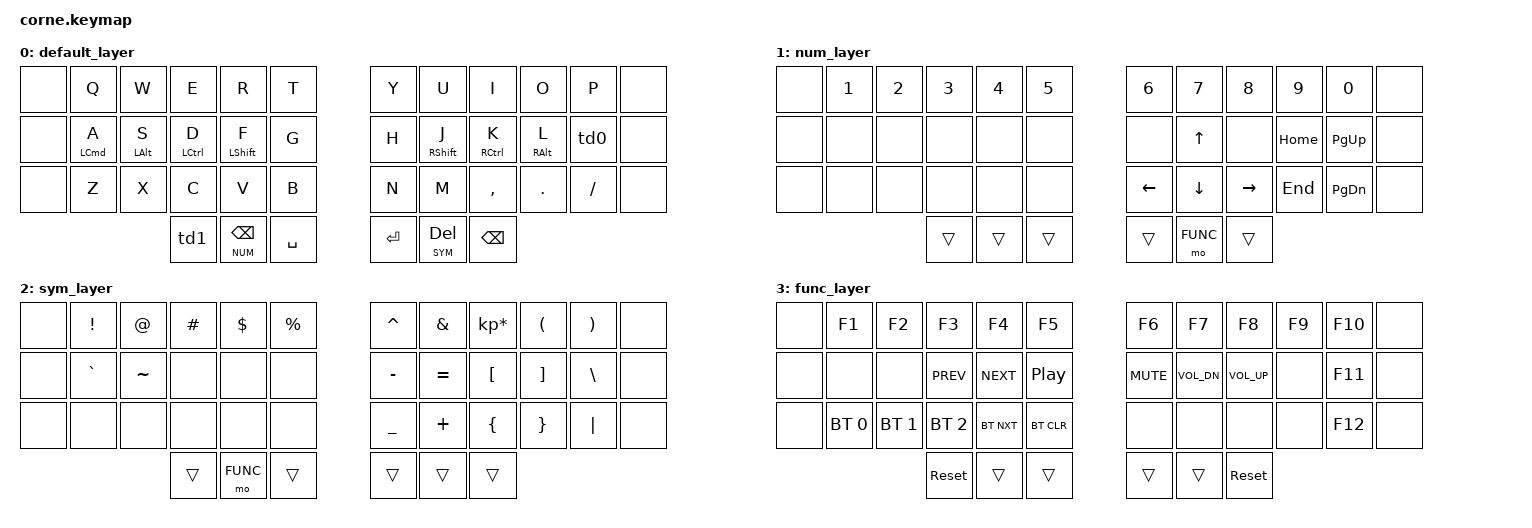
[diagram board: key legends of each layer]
/*
 * Copyright (c) 2020 The ZMK Contributors
 *
 * SPDX-License-Identifier: MIT
 * From https://github.com/jporter-dev/keymaps/blob/main/zmk-config/config/corne.keymap
 * With modifications by Sharif Razzaque to move numerals across the top row
 */

#include <behaviors.dtsi>
#include <dt-bindings/zmk/bt.h>
#include <dt-bindings/zmk/keys.h>

// LAYERS

#define DEFAULT 0
#define NUM     1
#define SYM     2
#define FUNC    3

// MACROS

#define SUPER LC(LSHIFT)
#define SUPER2 LA(LC(LSHIFT))

&mt {
    tapping-term-ms = <200>;
    flavor = "tap-preferred";
};

/ {
    behaviors {
        hm: homerow_mods {
            compatible = "zmk,behavior-hold-tap";
            label = "HOMEROW_MODS";
            #binding-cells = <2>;
            tapping-term-ms = <200>;
            quick-tap-ms = <0>;
            flavor = "tap-preferred";
            bindings =
                <&kp>,
                <&kp>;
        };

  td0: tap_dance_0 {
      compatible = "zmk,behavior-tap-dance";
      label = "TAP_DANCE_0";
      #binding-cells = <0>;
      tapping-term-ms = <200>;
      bindings = <&hm RGUI SEMI>, <&kp SQT>;
    };

    td1: tap_dance_1 {
      compatible = "zmk,behavior-tap-dance";
      label = "TAP_DANCE_1";
      #binding-cells = <0>;
      tapping-term-ms = <200>;
      bindings = <&mt LCTRL TAB>, <&kp ESC>;
    };

    };

    combos {
        compatible = "zmk,combos";

        combo_cword {
            timeout-ms = <50>;
            key-positions = <16 19>;
            bindings = <&caps_word>;
        };
    };

    macros {
    };

    keymap {
        compatible = "zmk,keymap";

        default_layer {
            bindings = <
&none       &kp Q       &kp W        &kp E         &kp R      &kp T        &kp Y         &kp U           &kp I       &kp O  &kp P  &none
&none  &hm LCMD A  &hm LALT S  &hm LCTRL D  &hm LSHIFT F      &kp G        &kp H  &hm RSHIFT J     &hm RCTRL K  &hm RALT L  &td0  &none
&none       &kp Z       &kp X        &kp C         &kp V      &kp B        &kp N         &kp M       &kp COMMA     &kp DOT  &kp FSLH  &none
                                     &td1  &lt NUM BSPC  &kp SPACE    &kp ENTER   &lt SYM DEL  &kp BSPC
            >;
        };

        num_layer {
            bindings = <
&none  &kp N1  &kp N2  &kp N3  &kp N4  &kp N5      &kp NUMBER_6    &kp N7           &kp N8    &kp N9         &kp N0  &none
&none   &none   &none   &none   &none   &none             &none    &kp UP            &none  &kp HOME      &kp PG_UP  &none
&none   &none   &none   &none   &none   &none    &kp LEFT_ARROW  &kp DOWN  &kp RIGHT_ARROW   &kp END  &kp PAGE_DOWN  &none
                       &trans  &trans  &trans            &trans  &mo FUNC           &trans
            >;
        };

        sym_layer {
            bindings = <
&none   &kp EXCL     &kp AT  &kp HASH  &kp DLLR  &kp PRCNT    &kp CARET   &kp AMPS  &kp KP_MULTIPLY  &kp LPAR  &kp RPAR  &none
&none  &kp GRAVE  &kp TILDE     &none     &none      &none    &kp MINUS  &kp EQUAL         &kp LBKT  &kp RBKT  &kp BSLH  &none
&none      &none      &none     &none     &none      &none    &kp UNDER   &kp PLUS         &kp LBRC  &kp RBRC  &kp PIPE  &none
                               &trans  &mo FUNC     &trans       &trans     &trans           &trans
            >;
        };

        func_layer {
            bindings = <
&none        &kp F1        &kp F2        &kp F3      &kp F4            &kp F5        &kp F6        &kp F7        &kp F8  &kp F9  &kp F10  &none
&none         &none         &none    &kp C_PREV  &kp C_NEXT  &kp C_PLAY_PAUSE    &kp C_MUTE  &kp C_VOL_DN  &kp C_VOL_UP   &none  &kp F11  &none
&none  &bt BT_SEL 0  &bt BT_SEL 1  &bt BT_SEL 2  &bt BT_NXT        &bt BT_CLR         &none         &none         &none   &none  &kp F12  &none
                                     &sys_reset      &trans            &trans        &trans        &trans    &sys_reset
            >;
        };
    };
};
